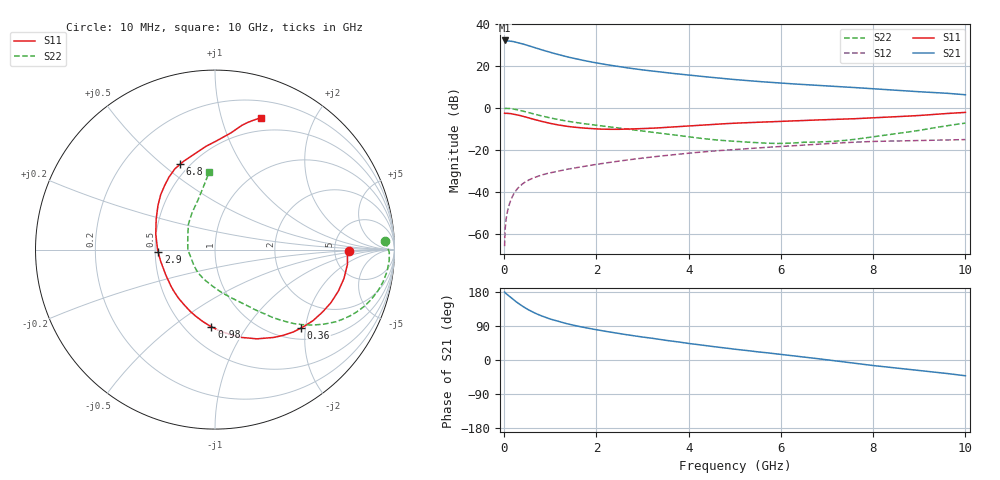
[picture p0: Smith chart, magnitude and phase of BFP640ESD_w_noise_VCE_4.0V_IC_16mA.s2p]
! Infineon Technologies  Discrete & RF Semiconductors
! BFP640ESD
! VCE =  4.0 V,  IC =  16 mA
! Common Emitter S-Parameters:  Jan 2016
# GHz  S  MA  R  50
!  f  S11  S21  S12  S22
! GHz  MAG  ANG  MAG  ANG  MAG  ANG  MAG  ANG
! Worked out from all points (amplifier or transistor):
!   233 points, 10 MHz to 10 GHz, reference 50 ohm
!   highest |S21| = 32.2 dB at 10 MHz (marker M1)
!   |S21| within 3 dB of that: start of sweep to 601.4 MHz
!   unconditionally stable (mu >= 1): start of sweep to 15.62 MHz; 3.511 GHz to 7.741 GHz
!   at 200 MHz: K = 0.24, MSG = 36.5 dB, |S12| = -41.4 dB
!   at 1.74 GHz: K = 0.84, MSG = 25.2 dB, |S12| = -27.9 dB
!   at 10 GHz: K = 0.88, MSG = 10.7 dB, |S12| = -15.2 dB
!   lowest NFmin = 0.81 dB at 450 MHz
!   S11 on the Smith chart (normalised r, x): 10 MHz: 6.81, -0.24; 360 MHz: 1.25, -1.89; 980 MHz: 0.67, -0.70; 2.9 GHz: 0.52, -0.02; 6.8 GHz: 0.45, +0.58; 10 GHz: 0.36, +1.34
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0.01  0.7443 -0.6  40.52 179.4  0.0005 36.3  0.9495 2.8
0.02  0.7385 -2.6  40.01 177.5  0.0012 52.0  0.9711 -0.9
0.05  0.7426 -6.3  39.6 174.1  0.0025 65.5  0.9727 -3.4
0.1  0.7364 -12.6  39.42 169.5  0.0045 74.6  0.9665 -7.2
0.18  0.7155 -22.1  38.34 161.4  0.0077 73.2  0.9424 -12.9
0.26  0.6884 -31.4  36.77 153.7  0.0108 71.0  0.9096 -18.2
0.36  0.6487 -42.4  34.57 145.1  0.0141 67.9  0.8598 -24.0
0.48  0.5976 -54.2  31.61 135.8  0.0176 64.2  0.796 -29.8
0.6  0.5491 -64.9  28.71 127.6  0.0205 61.5  0.7338 -34.5
0.8  0.4788 -80.3  24.47 116.9  0.0246 58.4  0.6458 -40.4
0.98  0.43 -92.7  21.39 109.0  0.0279 56.8  0.581 -44.4
1.12  0.4008 -101.3  19.37 103.7  0.0301 56.1  0.5396 -46.8
1.3  0.3712 -111.7  17.2 97.6  0.0331 55.4  0.4951 -49.7
1.68  0.332 -130.4  13.83 87.2  0.0393 54.7  0.4263 -54.3
2.2  0.3089 -152.1  10.8 75.6  0.0482 53.5  0.3609 -60.2
2.9  0.3166 -177.4  8.312 62.4  0.0612 50.4  0.2874 -70.6
3.4  0.3354 168.0  7.126 53.9  0.0709 47.4  0.2472 -79.6
4.3  0.3876 146.1  5.602 39.1  0.0886 40.5  0.185 -103.6
5.1  0.4348 133.3  4.629 27.2  0.1033 33.9  0.1562 -130.0
6.8  0.5137 112.2  3.43 3.5  0.1356 19.0  0.1529 172.6
8.4  0.6052 89.3  2.655 -19.9  0.1613 1.4  0.233 124.7
10  0.7776 70.9  2.053 -41.6  0.1747 -14.0  0.4321 94.4
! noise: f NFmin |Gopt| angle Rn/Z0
0.45  0.81  0.03  -4  0.09
0.9  0.83  0.01  -11  0.09
1.9  0.84  0.01  -88  0.12
2.4  0.85  0.03  -106  0.11
5.5  1.11  0.34  -116  0.13
10  1.73  0.58  -77  0.67
